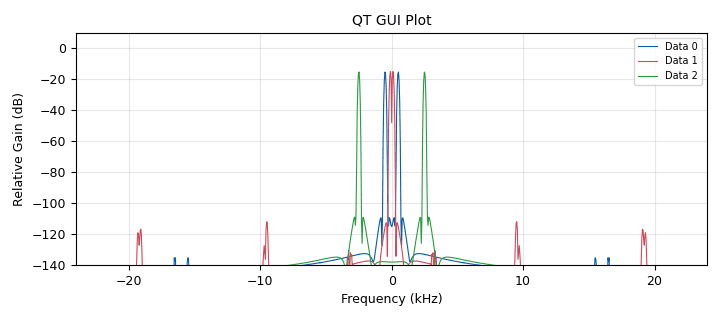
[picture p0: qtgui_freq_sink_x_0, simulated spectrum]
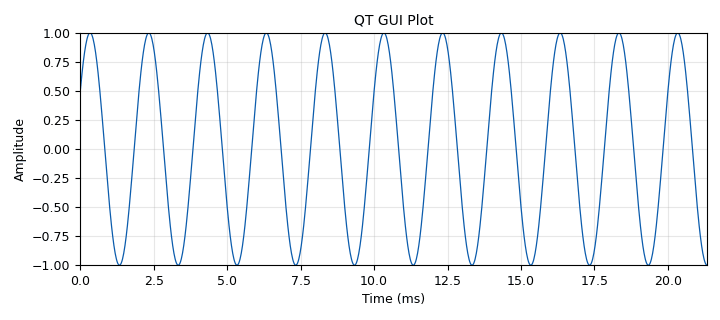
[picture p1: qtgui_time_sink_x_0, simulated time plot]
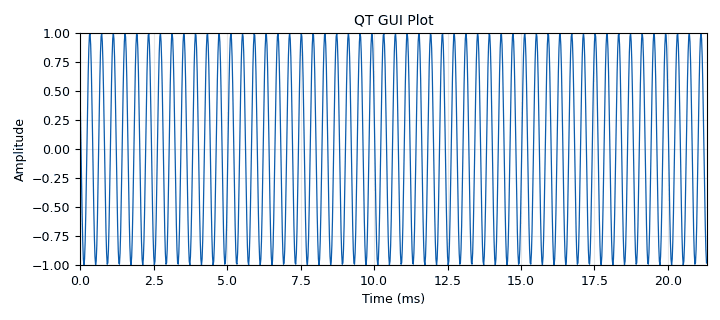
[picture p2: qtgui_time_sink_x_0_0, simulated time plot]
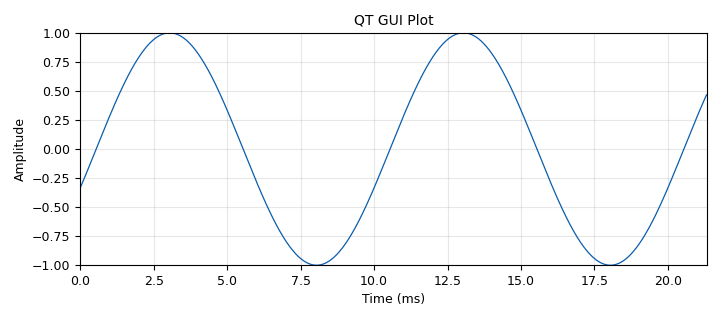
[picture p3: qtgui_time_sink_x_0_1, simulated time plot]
options:
  parameters:
    generate_options: qt_gui
    id: tutorial_two_4
    output_language: python
    title: Parte_2_L1C
  states: {}

blocks:
- name: freq
  id: variable
  parameters:
    value: '500'
  states: {}
- name: samp_rate
  id: variable
  parameters:
    value: '48000'
  states: {}
- name: analog_sig_source_x_0
  id: analog_sig_source_x
  parameters:
    amp: '1'
    freq: freq
    offset: '0'
    phase: '0'
    samp_rate: samp_rate
    type: float
    waveform: analog.GR_COS_WAVE
  states: {}
- name: analog_sig_source_x_0_0
  id: analog_sig_source_x
  parameters:
    amp: '1'
    freq: freq
    offset: '0'
    phase: '0'
    samp_rate: samp_rate
    type: float
    waveform: analog.GR_COS_WAVE
  states: {}
- name: analog_sig_source_x_0_1
  id: analog_sig_source_x
  parameters:
    amp: '1'
    freq: freq
    offset: '0'
    phase: '0'
    samp_rate: samp_rate
    type: float
    waveform: analog.GR_COS_WAVE
  states: {}
- name: blocks_throttle_0
  id: blocks_throttle
  parameters:
    samples_per_second: samp_rate
    type: float
  states: {}
- name: qtgui_freq_sink_x_0
  id: qtgui_freq_sink_x
  parameters:
    bw: samp_rate
    fc: '0'
    fftsize: '1024'
    name: QT GUI Plot
    nconnections: '3'
    type: float
  states: {}
- name: qtgui_time_sink_x_0
  id: qtgui_time_sink_x
  parameters:
    name: QT GUI Plot
    size: '1024'
    srate: samp_rate
    type: float
  states: {}
- name: qtgui_time_sink_x_0_0
  id: qtgui_time_sink_x
  parameters:
    color1: green
    name: QT GUI Plot
    size: '1024'
    srate: samp_rate
    type: float
  states: {}
- name: qtgui_time_sink_x_0_1
  id: qtgui_time_sink_x
  parameters:
    color1: red
    name: QT GUI Plot
    size: '1024'
    srate: samp_rate
    type: float
  states: {}
- name: rational_resampler_xxx_0
  id: rational_resampler_xxx
  parameters:
    decim: '1'
    interp: '1'
    type: fff
  states: {}
- name: rational_resampler_xxx_0_0
  id: rational_resampler_xxx
  parameters:
    decim: '1'
    interp: '5'
    type: fff
  states: {}
- name: rational_resampler_xxx_0_1
  id: rational_resampler_xxx
  parameters:
    decim: '5'
    interp: '1'
    type: fff
  states: {}

connections:
- [analog_sig_source_x_0, '0', rational_resampler_xxx_0, '0']
- [analog_sig_source_x_0_0, '0', rational_resampler_xxx_0_0, '0']
- [analog_sig_source_x_0_1, '0', rational_resampler_xxx_0_1, '0']
- [blocks_throttle_0, '0', qtgui_freq_sink_x_0, '0']
- [blocks_throttle_0, '0', qtgui_time_sink_x_0, '0']
- [rational_resampler_xxx_0, '0', blocks_throttle_0, '0']
- [rational_resampler_xxx_0_0, '0', qtgui_freq_sink_x_0, '1']
- [rational_resampler_xxx_0_0, '0', qtgui_time_sink_x_0_1, '0']
- [rational_resampler_xxx_0_1, '0', qtgui_freq_sink_x_0, '2']
- [rational_resampler_xxx_0_1, '0', qtgui_time_sink_x_0_0, '0']

metadata:
  file_format: 1
